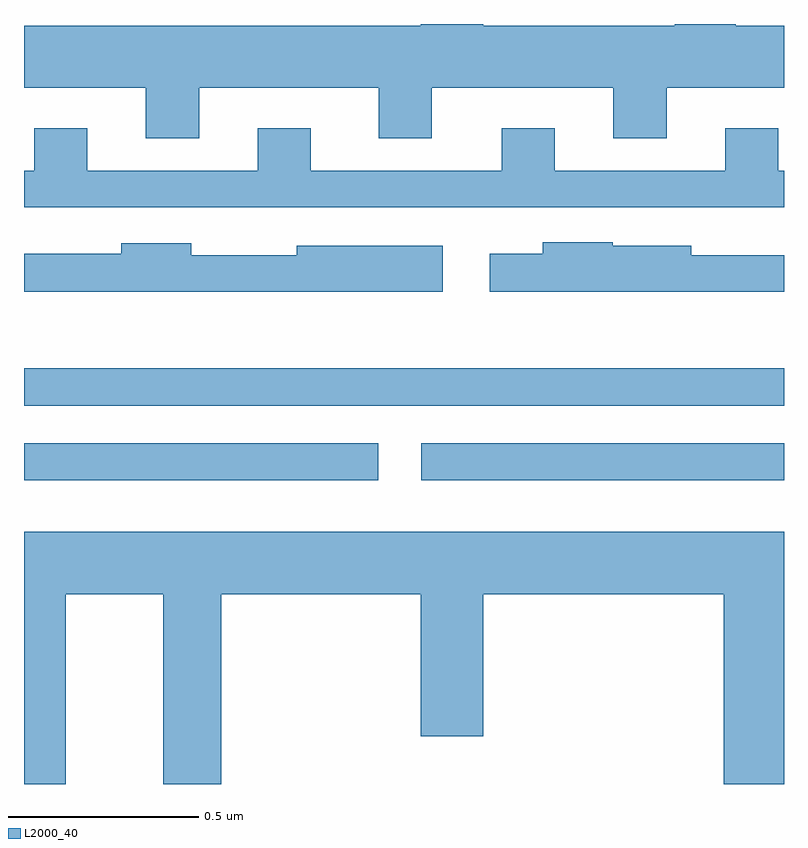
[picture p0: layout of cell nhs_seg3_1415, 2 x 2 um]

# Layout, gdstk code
import gdstk
lib = gdstk.Library(unit=1e-6, precision=1e-09)
def R(c, l, rs):  # rectangles x0, y0, x1, y1
    for r in rs: c.add(gdstk.rectangle(r[:2], r[2:], *l))
def P(c, l, *ps):  # polygons
    for p in ps: c.add(gdstk.Polygon(p, *l))
L2000_40 = (2000, 40)

nhs_seg3_1415 = lib.new_cell('nhs_seg3_1415')
R(nhs_seg3_1415, L2000_40, [(128,717.2,128.932,717.297), (129.045,717.2,130,717.297), (128,717.396,130,717.494)])
P(nhs_seg3_1415, L2000_40, [(128.461,718.232),(128.933,718.232),(128.933,718.099),(129.073,718.099),(129.073,718.232),(129.551,718.232),(129.551,718.099),(129.691,718.099),(129.691,718.232),(130,718.232),(130,718.396),(129.873,718.396),(129.873,718.4),(129.713,718.4),(129.713,718.396),(129.208,718.396),(129.208,718.4),(129.044,718.4),(129.044,718.396),(128,718.396),(128,718.232),(128.321,718.232),(128.321,718.099),(128.461,718.099)],
  [(130,718.014),(129.985,718.014),(129.985,718.126),(129.845,718.126),(129.845,718.014),(129.397,718.014),(129.397,718.126),(129.257,718.126),(129.257,718.014),(128.755,718.014),(128.755,718.126),(128.615,718.126),(128.615,718.014),(128.167,718.014),(128.167,718.126),(128.027,718.126),(128.027,718.014),(128,718.014),(128,717.918),(130,717.918)],
  [(130,717.792),(129.756,717.792),(129.756,717.817),(129.549,717.817),(129.549,717.826),(129.365,717.826),(129.365,717.796),(129.225,717.796),(129.225,717.695),(130,717.695)],
  [(129.102,717.817),(128.718,717.817),(128.718,717.792),(128.44,717.792),(128.44,717.823),(128.256,717.823),(128.256,717.796),(128,717.796),(128,717.695),(129.102,717.695)],
  [(128.11,716.9),(128.366,716.9),(128.366,716.4),(128.519,716.4),(128.519,716.9),(129.044,716.9),(129.044,716.526),(129.208,716.526),(129.208,716.9),(129.842,716.9),(129.842,716.4),(130,716.4),(130,717.064),(128,717.064),(128,716.4),(128.11,716.4)])

lib.write_gds('nhs_seg3_1415.gds')
